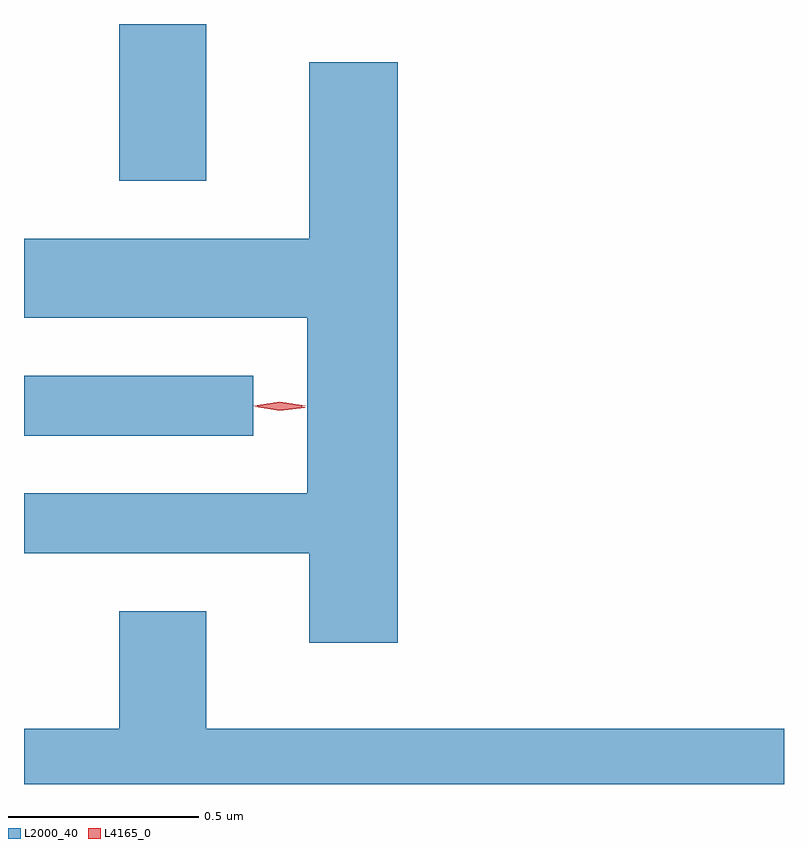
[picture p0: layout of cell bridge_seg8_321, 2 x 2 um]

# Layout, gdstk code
import gdstk
lib = gdstk.Library(unit=1e-6, precision=1e-09)
def R(c, l, rs):  # rectangles x0, y0, x1, y1
    for r in rs: c.add(gdstk.rectangle(r[:2], r[2:], *l))
def P(c, l, *ps):  # polygons
    for p in ps: c.add(gdstk.Polygon(p, *l))
L2000_40 = (2000, 40)
L4165_0 = (4165, 0)

bridge_seg8_321 = lib.new_cell('bridge_seg8_321')
R(bridge_seg8_321, L2000_40, [(1009.64,1917.376,1010.243,1917.534), (1009.891,1918.046,1010.119,1918.459)])
P(bridge_seg8_321, L2000_40, [(1010.624,1918.359),(1010.391,1918.359),(1010.391,1917.894),(1009.64,1917.894),(1009.64,1917.686),(1010.386,1917.686),(1010.386,1917.224),(1009.64,1917.224),(1009.64,1917.066),(1010.391,1917.066),(1010.391,1916.831),(1010.624,1916.831)],
  [(1011.64,1916.604),(1010.119,1916.604),(1010.119,1916.914),(1009.891,1916.914),(1009.891,1916.604),(1009.64,1916.604),(1009.64,1916.459),(1011.64,1916.459)])
P(bridge_seg8_321, L4165_0, [(1010.313,1917.445),(1010.244,1917.454),(1010.243,1917.455),(1010.244,1917.455),(1010.313,1917.465),(1010.382,1917.455),(1010.382,1917.455),(1010.382,1917.454)],
  [(1010.313,1917.441),(1010.248,1917.452),(1010.247,1917.452),(1010.248,1917.452),(1010.313,1917.461),(1010.379,1917.45),(1010.38,1917.449),(1010.379,1917.449)])

lib.write_gds('bridge_seg8_321.gds')
